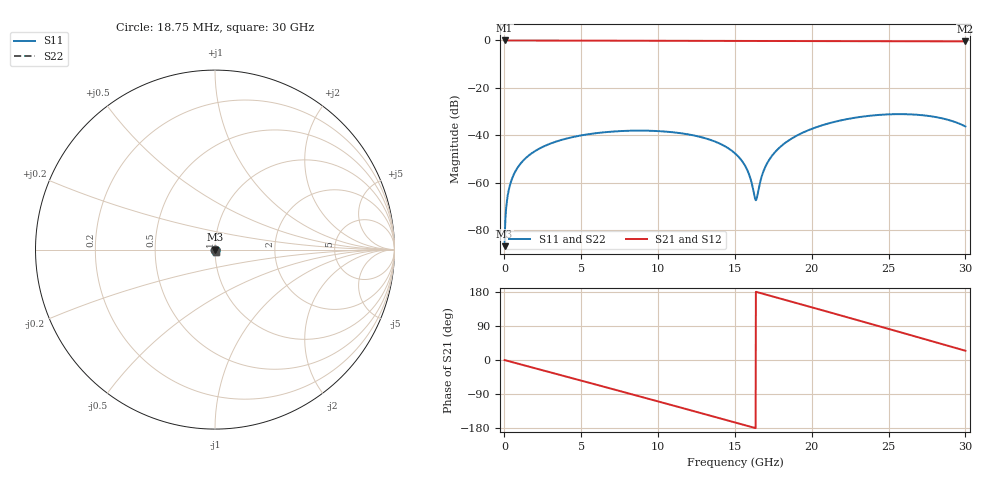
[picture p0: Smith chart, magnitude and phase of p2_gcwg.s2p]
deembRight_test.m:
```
% BSD 2-Clause License
% Copyright (c) 2023, Tobias Ammann
% 
% Redistribution and use in source and binary forms, with or without
% modification, are permitted provided that the following conditions are met:
% 
% 1. Redistributions of source code must retain the above copyright notice, this
%    list of conditions and the following disclaimer.
% 
% 2. Redistributions in binary form must reproduce the above copyright notice,
%    this list of conditions and the following disclaimer in the documentation
%    and/or other materials provided with the distribution.
%
% THIS SOFTWARE IS PROVIDED BY THE COPYRIGHT HOLDERS AND CONTRIBUTORS "AS IS"
% AND ANY EXPRESS OR IMPLIED WARRANTIES, INCLUDING, BUT NOT LIMITED TO, THE
% IMPLIED WARRANTIES OF MERCHANTABILITY AND FITNESS FOR A PARTICULAR PURPOSE ARE
% DISCLAIMED. IN NO EVENT SHALL THE COPYRIGHT HOLDER OR CONTRIBUTORS BE LIABLE
% FOR ANY DIRECT, INDIRECT, INCIDENTAL, SPECIAL, EXEMPLARY, OR CONSEQUENTIAL
% DAMAGES (INCLUDING, BUT NOT LIMITED TO, PROCUREMENT OF SUBSTITUTE GOODS OR
% SERVICES; LOSS OF USE, DATA, OR PROFITS; OR BUSINESS INTERRUPTION) HOWEVER
% CAUSED AND ON ANY THEORY OF LIABILITY, WHETHER IN CONTRACT, STRICT LIABILITY,
% OR TORT (INCLUDING NEGLIGENCE OR OTHERWISE) ARISING IN ANY WAY OUT OF THE USE
% OF THIS SOFTWARE, EVEN IF ADVISED OF THE POSSIBILITY OF SUCH DAMAGE.

clear;
clc;

[freq_fix, Sfix, npoints] = fromtouchn('p2_gcwg.s2p');
[freq_dut, Sdut, npoints] = fromtouchn('init_2023-04-28_164756.s2p');

z0 = 50;

Sdeemb = deembRight(Sdut, Sfix, z0, true);

figure;
hold on;
plot(freq_dut/1e9, 20*log10(abs(squeeze(Sdut(2,2,:)))));
plot(freq_dut/1e9, 20*log10(abs(squeeze(Sdeemb(2,2,:)))));

plot(freq_dut/1e9, 20*log10(abs(squeeze(Sdut(2,1,:)))));
plot(freq_dut/1e9, 20*log10(abs(squeeze(Sdeemb(2,1,:)))));
hold off;

xlabel('Frequency / GHz');
ylabel('Magnitude / dB');
legend('S_{22, DUT}', 'S_{22, deemb}', 'S_{21, DUT}','S_{21, deemb}');

grid minor
set(gca, 'fontsize', 12);
```
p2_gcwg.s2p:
# HZ S RI R 50
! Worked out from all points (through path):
!   1600 points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, 18.75 MHz to 30 GHz, reference 50 ohm
!   highest |S21| = 0.00 dB at 18.75 MHz (marker M1); lowest = -0.4 dB at 30 GHz (marker M2)
!   group delay of S21, straight-line fit = 31.1 ps
!   lowest |S11| = -86.9 dB at 18.75 MHz (marker M3), VSWR 1.00, Z = 50 + j0.00452 ohm
!   |S11| at or under -10 dB: start of sweep to end of sweep
!   |S22| runs from -86.9 to -31.1 dB; largest |S21 - S12| = 1e-12
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1.875e7  2.09e-06 4.52e-05  0.9998 -0.00354  0.9998 -0.00354  2.09e-06 4.52e-05
3.5625e8  7.04e-05 0.000853  0.9967 -0.0672  0.9967 -0.0672  7.04e-05 0.000853
9e8  0.000388 0.00211  0.9836 -0.169  0.9836 -0.169  0.000388 0.00211
3.6375e9  0.005 0.00598  0.7669 -0.6317  0.7669 -0.6317  0.005 0.00598
9.13125e9  0.0123 -0.00205  -0.1645 -0.9717  -0.1645 -0.9717  0.0123 -0.00205
1.501875e10  0.0014 -0.00386  -0.9434 -0.2546  -0.9434 -0.2546  0.0014 -0.00386
1.636875e10  0.000422 2.45e-06  -0.9752 0.000145  -0.9752 0.000145  0.000422 2.45e-06
1.7625e10  0.00153 0.00415  -0.944 0.2374  -0.944 0.2374  0.00153 0.00415
2.04375e10  0.0112 0.0103  -0.6749 0.6958  -0.6749 0.6958  0.0112 0.0103
2.506875e10  0.0273 -0.00399  0.1449 0.9515  0.1449 0.9515  0.0273 -0.00399
3e10  0.00766 -0.0132  0.8701 0.3951  0.8701 0.3951  0.00766 -0.0132
